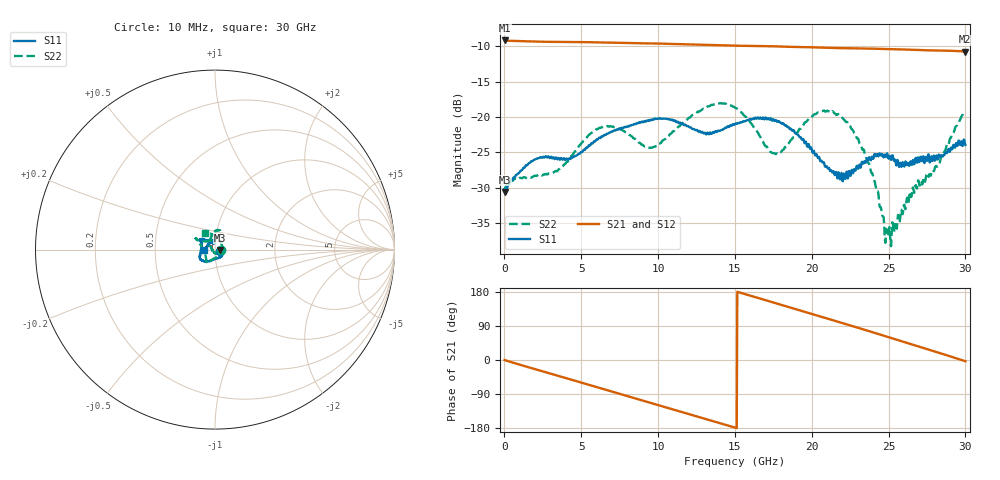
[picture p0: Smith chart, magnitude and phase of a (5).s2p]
! Device:  ADRF5700
! Description: 2 dB LSB, 5-Bit, Silicon Digital Attenuator, 100 MHz to 22 GHz
! Frequency:  10MHz -  30.00 GHz
! Ports:
!  RF1 = Port 1
!  RF2 = Port 2
! VDD  =  +3.30 Volts
! VSS  =  -3.30 Volts
! State:  8.00 dB attenuation
! Data:  Data was collected using an calibrated 4 port network analyzer
!  The reference plane is the edge of the device.
! Notes: Analog Devices supplies this data as a sample of measured data
!  for this product.  Your particular data for this product may vary.
!  Data was taken at 25 degrees C.
!  Analog Devices reserves the right to change this data at anytime.
# GHz S  dB  R 50
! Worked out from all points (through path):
!   801 points, 10 MHz to 30 GHz, reference 50 ohm
!   highest |S21| = -9.16 dB at 10 MHz (marker M1); lowest = -10.7 dB at 29.96 GHz (marker M2)
!   group delay of S21, straight-line fit = 33.4 ps
!   lowest |S11| = -30.6 dB at 47.5 MHz (marker M3), VSWR 1.06, Z = 53 - j0.181 ohm
!   |S11| at or under -10 dB: start of sweep to end of sweep
!   |S22| runs from -38.2 to -18.0 dB; largest |S21 - S12| = 0.0037
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0.01  -30.16 -15.8  -9.16 0.0  -9.16 0.2  -29.99 -5.5
0.0475  -30.60 -3.3  -9.20 -0.6  -9.17 -0.6  -30.24 8.7
1.8844  -26.11 -35.6  -9.30 -22.9  -9.27 -22.8  -28.35 -33.5
3.5338  -25.77 -60.4  -9.36 -42.3  -9.33 -42.2  -27.38 -77.2
5.0333  -24.95 -98.2  -9.39 -60.0  -9.36 -59.9  -23.63 -111.5
6.8327  -22.18 -122.3  -9.46 -81.4  -9.42 -81.3  -21.30 -121.5
9.1944  -20.63 -139.0  -9.56 -109.4  -9.52 -109.3  -24.19 -150.7
10.0192  -20.23 -145.4  -9.59 -119.3  -9.56 -119.1  -23.87 -175.1
13.2056  -22.18 173.5  -9.78 -157.1  -9.74 -156.9  -18.53 149.9
15.005  -20.99 150.0  -9.90 -178.4  -9.85 -178.1  -18.65 151.0
17.6666  -20.41 141.7  -9.99 149.7  -9.95 150.1  -25.23 107.6
20.0283  -24.87 128.0  -10.13 121.2  -10.09 121.7  -19.89 71.2
21.7153  -28.27 102.0  -10.24 100.9  -10.20 101.4  -19.56 88.0
22.7274  -27.68 94.0  -10.26 88.5  -10.22 89.0  -22.08 103.9
23.8521  -26.10 98.4  -10.32 74.6  -10.27 75.1  -27.73 128.0
24.2269  -25.29 102.0  -10.33 69.9  -10.29 70.5  -30.50 139.7
24.7143  -25.46 107.6  -10.36 63.9  -10.32 64.4  -35.08 -179.6
25.0142  -25.88 114.7  -10.38 60.2  -10.34 60.7  -36.07 -154.3
26.4762  -26.54 162.8  -10.46 41.8  -10.42 42.3  -31.29 -49.4
27.9757  -25.66 -165.1  -10.57 22.8  -10.53 23.4  -27.51 19.4
29.9625  -23.74 -173.4  -10.73 -2.8  -10.68 -2.3  -19.20 119.5
30  -23.93 -176.6  -10.72 -3.3  -10.68 -2.8  -19.16 121.0
